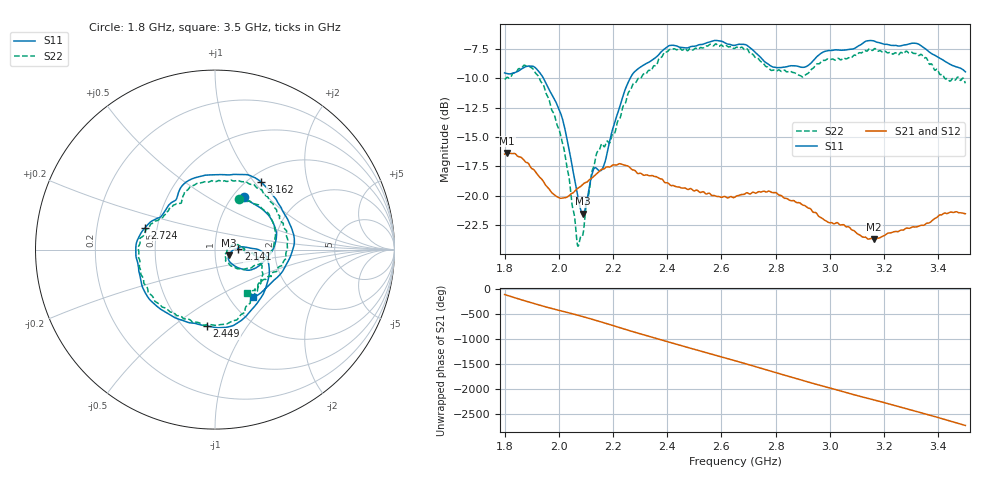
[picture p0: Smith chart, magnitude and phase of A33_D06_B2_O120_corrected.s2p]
! Created with skrf 1.9.0 (http://scikit-rf.org).
# Hz S RI R 50.0
!freq ReS11 ImS11 ReS21 ImS21 ReS12 ImS12 ReS22 ImS22
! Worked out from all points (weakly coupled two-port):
!   1601 points, 1.8 GHz to 3.5 GHz, reference 50 ohm
!   highest |S21| = -16.36 dB at 1.81 GHz (marker M1); lowest = -23.7 dB at 3.163 GHz (marker M2)
!   lowest |S11| = -21.5 dB at 2.089 GHz (marker M3), VSWR 1.18, Z = 58.3 - j3.8 ohm
!   |S11| at or under -10 dB: 1.944 GHz to 2.263 GHz (319.7 MHz wide, 15.2 % of centre)
!   |S22| runs from -24.3 to -7.1 dB; largest |S21 - S12| = 0.0026
!   S11 on the Smith chart (normalised r, x): 1.8 GHz: 1.12, +0.74; 2.141 GHz: 1.30, +0.01; 2.449 GHz: 0.64, -0.67; 2.724 GHz: 0.43, +0.13; 3.162 GHz: 1.14, +1.09; 3.5 GHz: 1.28, -0.76
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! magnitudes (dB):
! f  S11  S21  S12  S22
! 1.8 GHz  -9.5  -16.5  -16.4  -10.1
! 1.81 GHz  -9.6  -16.4  -16.4  -9.9
! 1.881 GHz  -9.0  -17.2  -17.2  -8.9
! 1.941 GHz  -9.9  -18.7  -18.7  -10.5
! 2.013 GHz  -13.4  -20.2  -20.2  -15.4
! 2.068 GHz  -19.8  -19.4  -19.4  -24.1
! 2.084 GHz  -21.4  -19.1  -19.1  -23.4
! 2.089 GHz  -21.5  -19.0  -19.1  -23.3
! 2.141 GHz  -17.7  -18.1  -18.1  -16.3
! 2.166 GHz  -17.5  -17.7  -17.7  -15.8
! 2.264 GHz  -9.9  -17.6  -17.6  -11.0
! 2.367 GHz  -8.0  -18.5  -18.4  -8.4
! 2.449 GHz  -7.4  -19.3  -19.3  -7.5
! 2.65 GHz  -7.2  -20.1  -20.1  -7.4
! 2.724 GHz  -7.8  -19.8  -19.7  -8.2
! 2.798 GHz  -9.1  -19.7  -19.7  -9.4
! 2.934 GHz  -8.6  -21.3  -21.2  -9.2
! 3.162 GHz  -6.8  -23.7  -23.6  -7.5
! 3.163 GHz  -6.8  -23.7  -23.7  -7.5
! 3.217 GHz  -7.1  -23.2  -23.1  -7.8
! 3.323 GHz  -7.0  -22.6  -22.6  -8.0
! 3.5 GHz  -9.5  -21.5  -21.5  -10.4
